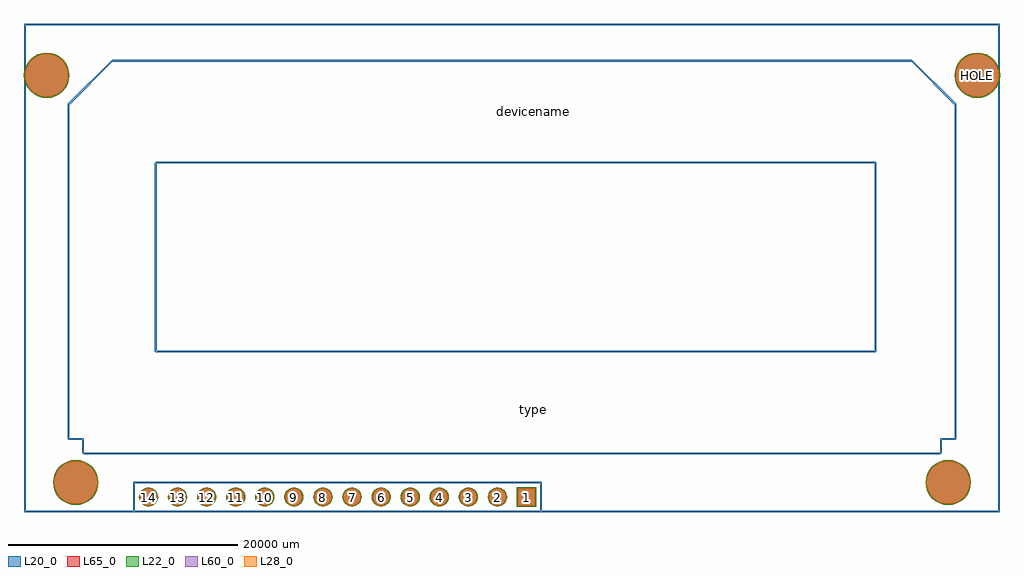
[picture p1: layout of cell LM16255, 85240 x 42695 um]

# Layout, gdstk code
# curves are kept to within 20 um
import gdstk
lib = gdstk.Library(unit=1e-6, precision=1e-09)
def R(c, l, rs):  # rectangles x0, y0, x1, y1
    for r in rs: c.add(gdstk.rectangle(r[:2], r[2:], *l))
def P(c, l, *ps):  # polygons
    for p in ps: c.add(gdstk.Polygon(p, *l))
L20_0 = (20, 0)
L22_0 = (22, 0)
L28_0 = (28, 0)
L60_0 = (60, 0)
L65_0 = (65, 0)

lm16255 = lib.new_cell('LM16255')
R(lm16255, L22_0, [(15673,-837,17347,837)])
P(lm16255, L22_0, [(-15673,0),(-15736.713,320.306),(-15918.152,591.848),(-16189.694,773.287),(-16510,837),(-16830.306,773.287),(-17101.848,591.848),(-17283.287,320.306),(-17347,0),(-17283.287,-320.306),(-17101.848,-591.848),(-16830.306,-773.287),(-16510,-837),(-16189.694,-773.287),(-15918.152,-591.848),(-15736.713,-320.306)],
  [(-13133,0),(-13196.713,320.306),(-13378.152,591.848),(-13649.694,773.287),(-13970,837),(-14290.306,773.287),(-14561.848,591.848),(-14743.287,320.306),(-14807,0),(-14743.287,-320.306),(-14561.848,-591.848),(-14290.306,-773.287),(-13970,-837),(-13649.694,-773.287),(-13378.152,-591.848),(-13196.713,-320.306)],
  [(-10593,0),(-10656.713,320.306),(-10838.152,591.848),(-11109.694,773.287),(-11430,837),(-11750.306,773.287),(-12021.848,591.848),(-12203.287,320.306),(-12267,0),(-12203.287,-320.306),(-12021.848,-591.848),(-11750.306,-773.287),(-11430,-837),(-11109.694,-773.287),(-10838.152,-591.848),(-10656.713,-320.306)],
  [(-8053,0),(-8116.713,320.306),(-8298.152,591.848),(-8569.694,773.287),(-8890,837),(-9210.306,773.287),(-9481.848,591.848),(-9663.287,320.306),(-9727,0),(-9663.287,-320.306),(-9481.848,-591.848),(-9210.306,-773.287),(-8890,-837),(-8569.694,-773.287),(-8298.152,-591.848),(-8116.713,-320.306)],
  [(-5513,0),(-5576.713,320.306),(-5758.152,591.848),(-6029.694,773.287),(-6350,837),(-6670.306,773.287),(-6941.848,591.848),(-7123.287,320.306),(-7187,0),(-7123.287,-320.306),(-6941.848,-591.848),(-6670.306,-773.287),(-6350,-837),(-6029.694,-773.287),(-5758.152,-591.848),(-5576.713,-320.306)],
  [(-2973,0),(-3036.713,320.306),(-3218.152,591.848),(-3489.694,773.287),(-3810,837),(-4130.306,773.287),(-4401.848,591.848),(-4583.287,320.306),(-4647,0),(-4583.287,-320.306),(-4401.848,-591.848),(-4130.306,-773.287),(-3810,-837),(-3489.694,-773.287),(-3218.152,-591.848),(-3036.713,-320.306)],
  [(-433,0),(-496.713,320.306),(-678.152,591.848),(-949.694,773.287),(-1270,837),(-1590.306,773.287),(-1861.848,591.848),(-2043.287,320.306),(-2107,0),(-2043.287,-320.306),(-1861.848,-591.848),(-1590.306,-773.287),(-1270,-837),(-949.694,-773.287),(-678.152,-591.848),(-496.713,-320.306)],
  [(2107,0),(2043.287,320.306),(1861.848,591.848),(1590.306,773.287),(1270,837),(949.694,773.287),(678.152,591.848),(496.713,320.306),(433,0),(496.713,-320.306),(678.152,-591.848),(949.694,-773.287),(1270,-837),(1590.306,-773.287),(1861.848,-591.848),(2043.287,-320.306)],
  [(4647,0),(4583.287,320.306),(4401.848,591.848),(4130.306,773.287),(3810,837),(3489.694,773.287),(3218.152,591.848),(3036.713,320.306),(2973,0),(3036.713,-320.306),(3218.152,-591.848),(3489.694,-773.287),(3810,-837),(4130.306,-773.287),(4401.848,-591.848),(4583.287,-320.306)],
  [(7187,0),(7123.287,320.306),(6941.848,591.848),(6670.306,773.287),(6350,837),(6029.694,773.287),(5758.152,591.848),(5576.713,320.306),(5513,0),(5576.713,-320.306),(5758.152,-591.848),(6029.694,-773.287),(6350,-837),(6670.306,-773.287),(6941.848,-591.848),(7123.287,-320.306)],
  [(9727,0),(9663.287,320.306),(9481.848,591.848),(9210.306,773.287),(8890,837),(8569.694,773.287),(8298.152,591.848),(8116.713,320.306),(8053,0),(8116.713,-320.306),(8298.152,-591.848),(8569.694,-773.287),(8890,-837),(9210.306,-773.287),(9481.848,-591.848),(9663.287,-320.306)],
  [(12267,0),(12203.287,320.306),(12021.848,591.848),(11750.306,773.287),(11430,837),(11109.694,773.287),(10838.152,591.848),(10656.713,320.306),(10593,0),(10656.713,-320.306),(10838.152,-591.848),(11109.694,-773.287),(11430,-837),(11750.306,-773.287),(12021.848,-591.848),(12203.287,-320.306)],
  [(14807,0),(14743.287,320.306),(14561.848,591.848),(14290.306,773.287),(13970,837),(13649.694,773.287),(13378.152,591.848),(13196.713,320.306),(13133,0),(13196.713,-320.306),(13378.152,-591.848),(13649.694,-773.287),(13970,-837),(14290.306,-773.287),(14561.848,-591.848),(14743.287,-320.306)],
  [(-20880,1270),(-20918.045,1656.279),(-21030.719,2027.713),(-21213.69,2370.029),(-21459.929,2670.071),(-21759.971,2916.31),(-22102.287,3099.281),(-22473.721,3211.955),(-22860,3250),(-23246.279,3211.955),(-23617.713,3099.281),(-23960.029,2916.31),(-24260.071,2670.071),(-24506.31,2370.029),(-24689.281,2027.713),(-24801.955,1656.279),(-24840,1270),(-24801.955,883.721),(-24689.281,512.287),(-24506.31,169.971),(-24260.071,-130.071),(-23960.029,-376.31),(-23617.713,-559.281),(-23246.279,-671.955),(-22860,-710),(-22473.721,-671.955),(-22102.287,-559.281),(-21759.971,-376.31),(-21459.929,-130.071),(-21213.69,169.971),(-21030.719,512.287),(-20918.045,883.721)],
  [(-23420,36830),(-23458.045,37216.279),(-23570.719,37587.713),(-23753.69,37930.029),(-23999.929,38230.071),(-24299.971,38476.31),(-24642.287,38659.281),(-25013.721,38771.955),(-25400,38810),(-25786.279,38771.955),(-26157.713,38659.281),(-26500.029,38476.31),(-26800.071,38230.071),(-27046.31,37930.029),(-27229.281,37587.713),(-27341.955,37216.279),(-27380,36830),(-27341.955,36443.721),(-27229.281,36072.287),(-27046.31,35729.971),(-26800.071,35429.929),(-26500.029,35183.69),(-26157.713,35000.719),(-25786.279,34888.045),(-25400,34850),(-25013.721,34888.045),(-24642.287,35000.719),(-24299.971,35183.69),(-23999.929,35429.929),(-23753.69,35729.971),(-23570.719,36072.287),(-23458.045,36443.721)],
  [(55320,1270),(55281.955,1656.279),(55169.281,2027.713),(54986.31,2370.029),(54740.071,2670.071),(54440.029,2916.31),(54097.713,3099.281),(53726.279,3211.955),(53340,3250),(52953.721,3211.955),(52582.287,3099.281),(52239.971,2916.31),(51939.929,2670.071),(51693.69,2370.029),(51510.719,2027.713),(51398.045,1656.279),(51360,1270),(51398.045,883.721),(51510.719,512.287),(51693.69,169.971),(51939.929,-130.071),(52239.971,-376.31),(52582.287,-559.281),(52953.721,-671.955),(53340,-710),(53726.279,-671.955),(54097.713,-559.281),(54440.029,-376.31),(54740.071,-130.071),(54986.31,169.971),(55169.281,512.287),(55281.955,883.721)],
  [(57860,36830),(57821.955,37216.279),(57709.281,37587.713),(57526.31,37930.029),(57280.071,38230.071),(56980.029,38476.31),(56637.713,38659.281),(56266.279,38771.955),(55880,38810),(55493.721,38771.955),(55122.287,38659.281),(54779.971,38476.31),(54479.929,38230.071),(54233.69,37930.029),(54050.719,37587.713),(53938.045,37216.279),(53900,36830),(53938.045,36443.721),(54050.719,36072.287),(54233.69,35729.971),(54479.929,35429.929),(54779.971,35183.69),(55122.287,35000.719),(55493.721,34888.045),(55880,34850),(56266.279,34888.045),(56637.713,35000.719),(56980.029,35183.69),(57280.071,35429.929),(57526.31,35729.971),(57709.281,36072.287),(57821.955,36443.721)])
R(lm16255, L28_0, [(15748,-762,17272,762)])
P(lm16255, L28_0, [(-15748,0),(-15806.004,291.605),(-15971.185,538.815),(-16218.395,703.996),(-16510,762),(-16801.605,703.996),(-17048.815,538.815),(-17213.996,291.605),(-17272,0),(-17213.996,-291.605),(-17048.815,-538.815),(-16801.605,-703.996),(-16510,-762),(-16218.395,-703.996),(-15971.185,-538.815),(-15806.004,-291.605)],
  [(-13208,0),(-13266.004,291.605),(-13431.185,538.815),(-13678.395,703.996),(-13970,762),(-14261.605,703.996),(-14508.815,538.815),(-14673.996,291.605),(-14732,0),(-14673.996,-291.605),(-14508.815,-538.815),(-14261.605,-703.996),(-13970,-762),(-13678.395,-703.996),(-13431.185,-538.815),(-13266.004,-291.605)],
  [(-10668,0),(-10726.004,291.605),(-10891.185,538.815),(-11138.395,703.996),(-11430,762),(-11721.605,703.996),(-11968.815,538.815),(-12133.996,291.605),(-12192,0),(-12133.996,-291.605),(-11968.815,-538.815),(-11721.605,-703.996),(-11430,-762),(-11138.395,-703.996),(-10891.185,-538.815),(-10726.004,-291.605)],
  [(-8128,0),(-8186.004,291.605),(-8351.185,538.815),(-8598.395,703.996),(-8890,762),(-9181.605,703.996),(-9428.815,538.815),(-9593.996,291.605),(-9652,0),(-9593.996,-291.605),(-9428.815,-538.815),(-9181.605,-703.996),(-8890,-762),(-8598.395,-703.996),(-8351.185,-538.815),(-8186.004,-291.605)],
  [(-5588,0),(-5646.004,291.605),(-5811.185,538.815),(-6058.395,703.996),(-6350,762),(-6641.605,703.996),(-6888.815,538.815),(-7053.996,291.605),(-7112,0),(-7053.996,-291.605),(-6888.815,-538.815),(-6641.605,-703.996),(-6350,-762),(-6058.395,-703.996),(-5811.185,-538.815),(-5646.004,-291.605)],
  [(-3048,0),(-3106.004,291.605),(-3271.185,538.815),(-3518.395,703.996),(-3810,762),(-4101.605,703.996),(-4348.815,538.815),(-4513.996,291.605),(-4572,0),(-4513.996,-291.605),(-4348.815,-538.815),(-4101.605,-703.996),(-3810,-762),(-3518.395,-703.996),(-3271.185,-538.815),(-3106.004,-291.605)],
  [(-508,0),(-566.004,291.605),(-731.185,538.815),(-978.395,703.996),(-1270,762),(-1561.605,703.996),(-1808.815,538.815),(-1973.996,291.605),(-2032,0),(-1973.996,-291.605),(-1808.815,-538.815),(-1561.605,-703.996),(-1270,-762),(-978.395,-703.996),(-731.185,-538.815),(-566.004,-291.605)],
  [(2032,0),(1973.996,291.605),(1808.815,538.815),(1561.605,703.996),(1270,762),(978.395,703.996),(731.185,538.815),(566.004,291.605),(508,0),(566.004,-291.605),(731.185,-538.815),(978.395,-703.996),(1270,-762),(1561.605,-703.996),(1808.815,-538.815),(1973.996,-291.605)],
  [(4572,0),(4513.996,291.605),(4348.815,538.815),(4101.605,703.996),(3810,762),(3518.395,703.996),(3271.185,538.815),(3106.004,291.605),(3048,0),(3106.004,-291.605),(3271.185,-538.815),(3518.395,-703.996),(3810,-762),(4101.605,-703.996),(4348.815,-538.815),(4513.996,-291.605)],
  [(7112,0),(7053.996,291.605),(6888.815,538.815),(6641.605,703.996),(6350,762),(6058.395,703.996),(5811.185,538.815),(5646.004,291.605),(5588,0),(5646.004,-291.605),(5811.185,-538.815),(6058.395,-703.996),(6350,-762),(6641.605,-703.996),(6888.815,-538.815),(7053.996,-291.605)],
  [(9652,0),(9593.996,291.605),(9428.815,538.815),(9181.605,703.996),(8890,762),(8598.395,703.996),(8351.185,538.815),(8186.004,291.605),(8128,0),(8186.004,-291.605),(8351.185,-538.815),(8598.395,-703.996),(8890,-762),(9181.605,-703.996),(9428.815,-538.815),(9593.996,-291.605)],
  [(12192,0),(12133.996,291.605),(11968.815,538.815),(11721.605,703.996),(11430,762),(11138.395,703.996),(10891.185,538.815),(10726.004,291.605),(10668,0),(10726.004,-291.605),(10891.185,-538.815),(11138.395,-703.996),(11430,-762),(11721.605,-703.996),(11968.815,-538.815),(12133.996,-291.605)],
  [(14732,0),(14673.996,291.605),(14508.815,538.815),(14261.605,703.996),(13970,762),(13678.395,703.996),(13431.185,538.815),(13266.004,291.605),(13208,0),(13266.004,-291.605),(13431.185,-538.815),(13678.395,-703.996),(13970,-762),(14261.605,-703.996),(14508.815,-538.815),(14673.996,-291.605)],
  [(-20955,1270),(-20991.604,1641.647),(-21100.009,1999.012),(-21276.05,2328.361),(-21512.962,2617.038),(-21801.639,2853.95),(-22130.988,3029.991),(-22488.353,3138.396),(-22860,3175),(-23231.647,3138.396),(-23589.012,3029.991),(-23918.361,2853.95),(-24207.038,2617.038),(-24443.95,2328.361),(-24619.991,1999.012),(-24728.396,1641.647),(-24765,1270),(-24728.396,898.353),(-24619.991,540.988),(-24443.95,211.639),(-24207.038,-77.038),(-23918.361,-313.95),(-23589.012,-489.991),(-23231.647,-598.396),(-22860,-635),(-22488.353,-598.396),(-22130.988,-489.991),(-21801.639,-313.95),(-21512.962,-77.038),(-21276.05,211.639),(-21100.009,540.988),(-20991.604,898.353)],
  [(-23495,36830),(-23531.604,37201.647),(-23640.009,37559.012),(-23816.05,37888.361),(-24052.962,38177.038),(-24341.639,38413.95),(-24670.988,38589.991),(-25028.353,38698.396),(-25400,38735),(-25771.647,38698.396),(-26129.012,38589.991),(-26458.361,38413.95),(-26747.038,38177.038),(-26983.95,37888.361),(-27159.991,37559.012),(-27268.396,37201.647),(-27305,36830),(-27268.396,36458.353),(-27159.991,36100.988),(-26983.95,35771.639),(-26747.038,35482.962),(-26458.361,35246.05),(-26129.012,35070.009),(-25771.647,34961.604),(-25400,34925),(-25028.353,34961.604),(-24670.988,35070.009),(-24341.639,35246.05),(-24052.962,35482.962),(-23816.05,35771.639),(-23640.009,36100.988),(-23531.604,36458.353)],
  [(55245,1270),(55208.396,1641.647),(55099.991,1999.012),(54923.95,2328.361),(54687.038,2617.038),(54398.361,2853.95),(54069.012,3029.991),(53711.647,3138.396),(53340,3175),(52968.353,3138.396),(52610.988,3029.991),(52281.639,2853.95),(51992.962,2617.038),(51756.05,2328.361),(51580.009,1999.012),(51471.604,1641.647),(51435,1270),(51471.604,898.353),(51580.009,540.988),(51756.05,211.639),(51992.962,-77.038),(52281.639,-313.95),(52610.988,-489.991),(52968.353,-598.396),(53340,-635),(53711.647,-598.396),(54069.012,-489.991),(54398.361,-313.95),(54687.038,-77.038),(54923.95,211.639),(55099.991,540.988),(55208.396,898.353)],
  [(57785,36830),(57748.396,37201.647),(57639.991,37559.012),(57463.95,37888.361),(57227.038,38177.038),(56938.361,38413.95),(56609.012,38589.991),(56251.647,38698.396),(55880,38735),(55508.353,38698.396),(55150.988,38589.991),(54821.639,38413.95),(54532.962,38177.038),(54296.05,37888.361),(54120.009,37559.012),(54011.604,37201.647),(53975,36830),(54011.604,36458.353),(54120.009,36100.988),(54296.05,35771.639),(54532.962,35482.962),(54821.639,35246.05),(55150.988,35070.009),(55508.353,34961.604),(55880,34925),(56251.647,34961.604),(56609.012,35070.009),(56938.361,35246.05),(57227.038,35482.962),(57463.95,35771.639),(57639.991,36100.988),(57748.396,36458.353)])
R(lm16255, L60_0, [(15748,-762,17272,762)])
P(lm16255, L60_0, [(-15748,0),(-15806.004,291.605),(-15971.185,538.815),(-16218.395,703.996),(-16510,762),(-16801.605,703.996),(-17048.815,538.815),(-17213.996,291.605),(-17272,0),(-17213.996,-291.605),(-17048.815,-538.815),(-16801.605,-703.996),(-16510,-762),(-16218.395,-703.996),(-15971.185,-538.815),(-15806.004,-291.605)],
  [(-13208,0),(-13266.004,291.605),(-13431.185,538.815),(-13678.395,703.996),(-13970,762),(-14261.605,703.996),(-14508.815,538.815),(-14673.996,291.605),(-14732,0),(-14673.996,-291.605),(-14508.815,-538.815),(-14261.605,-703.996),(-13970,-762),(-13678.395,-703.996),(-13431.185,-538.815),(-13266.004,-291.605)],
  [(-10668,0),(-10726.004,291.605),(-10891.185,538.815),(-11138.395,703.996),(-11430,762),(-11721.605,703.996),(-11968.815,538.815),(-12133.996,291.605),(-12192,0),(-12133.996,-291.605),(-11968.815,-538.815),(-11721.605,-703.996),(-11430,-762),(-11138.395,-703.996),(-10891.185,-538.815),(-10726.004,-291.605)],
  [(-8128,0),(-8186.004,291.605),(-8351.185,538.815),(-8598.395,703.996),(-8890,762),(-9181.605,703.996),(-9428.815,538.815),(-9593.996,291.605),(-9652,0),(-9593.996,-291.605),(-9428.815,-538.815),(-9181.605,-703.996),(-8890,-762),(-8598.395,-703.996),(-8351.185,-538.815),(-8186.004,-291.605)],
  [(-5588,0),(-5646.004,291.605),(-5811.185,538.815),(-6058.395,703.996),(-6350,762),(-6641.605,703.996),(-6888.815,538.815),(-7053.996,291.605),(-7112,0),(-7053.996,-291.605),(-6888.815,-538.815),(-6641.605,-703.996),(-6350,-762),(-6058.395,-703.996),(-5811.185,-538.815),(-5646.004,-291.605)],
  [(-3048,0),(-3106.004,291.605),(-3271.185,538.815),(-3518.395,703.996),(-3810,762),(-4101.605,703.996),(-4348.815,538.815),(-4513.996,291.605),(-4572,0),(-4513.996,-291.605),(-4348.815,-538.815),(-4101.605,-703.996),(-3810,-762),(-3518.395,-703.996),(-3271.185,-538.815),(-3106.004,-291.605)],
  [(-508,0),(-566.004,291.605),(-731.185,538.815),(-978.395,703.996),(-1270,762),(-1561.605,703.996),(-1808.815,538.815),(-1973.996,291.605),(-2032,0),(-1973.996,-291.605),(-1808.815,-538.815),(-1561.605,-703.996),(-1270,-762),(-978.395,-703.996),(-731.185,-538.815),(-566.004,-291.605)],
  [(2032,0),(1973.996,291.605),(1808.815,538.815),(1561.605,703.996),(1270,762),(978.395,703.996),(731.185,538.815),(566.004,291.605),(508,0),(566.004,-291.605),(731.185,-538.815),(978.395,-703.996),(1270,-762),(1561.605,-703.996),(1808.815,-538.815),(1973.996,-291.605)],
  [(4572,0),(4513.996,291.605),(4348.815,538.815),(4101.605,703.996),(3810,762),(3518.395,703.996),(3271.185,538.815),(3106.004,291.605),(3048,0),(3106.004,-291.605),(3271.185,-538.815),(3518.395,-703.996),(3810,-762),(4101.605,-703.996),(4348.815,-538.815),(4513.996,-291.605)],
  [(7112,0),(7053.996,291.605),(6888.815,538.815),(6641.605,703.996),(6350,762),(6058.395,703.996),(5811.185,538.815),(5646.004,291.605),(5588,0),(5646.004,-291.605),(5811.185,-538.815),(6058.395,-703.996),(6350,-762),(6641.605,-703.996),(6888.815,-538.815),(7053.996,-291.605)],
  [(9652,0),(9593.996,291.605),(9428.815,538.815),(9181.605,703.996),(8890,762),(8598.395,703.996),(8351.185,538.815),(8186.004,291.605),(8128,0),(8186.004,-291.605),(8351.185,-538.815),(8598.395,-703.996),(8890,-762),(9181.605,-703.996),(9428.815,-538.815),(9593.996,-291.605)],
  [(12192,0),(12133.996,291.605),(11968.815,538.815),(11721.605,703.996),(11430,762),(11138.395,703.996),(10891.185,538.815),(10726.004,291.605),(10668,0),(10726.004,-291.605),(10891.185,-538.815),(11138.395,-703.996),(11430,-762),(11721.605,-703.996),(11968.815,-538.815),(12133.996,-291.605)],
  [(14732,0),(14673.996,291.605),(14508.815,538.815),(14261.605,703.996),(13970,762),(13678.395,703.996),(13431.185,538.815),(13266.004,291.605),(13208,0),(13266.004,-291.605),(13431.185,-538.815),(13678.395,-703.996),(13970,-762),(14261.605,-703.996),(14508.815,-538.815),(14673.996,-291.605)],
  [(-20955,1270),(-20991.604,1641.647),(-21100.009,1999.012),(-21276.05,2328.361),(-21512.962,2617.038),(-21801.639,2853.95),(-22130.988,3029.991),(-22488.353,3138.396),(-22860,3175),(-23231.647,3138.396),(-23589.012,3029.991),(-23918.361,2853.95),(-24207.038,2617.038),(-24443.95,2328.361),(-24619.991,1999.012),(-24728.396,1641.647),(-24765,1270),(-24728.396,898.353),(-24619.991,540.988),(-24443.95,211.639),(-24207.038,-77.038),(-23918.361,-313.95),(-23589.012,-489.991),(-23231.647,-598.396),(-22860,-635),(-22488.353,-598.396),(-22130.988,-489.991),(-21801.639,-313.95),(-21512.962,-77.038),(-21276.05,211.639),(-21100.009,540.988),(-20991.604,898.353)],
  [(-23495,36830),(-23531.604,37201.647),(-23640.009,37559.012),(-23816.05,37888.361),(-24052.962,38177.038),(-24341.639,38413.95),(-24670.988,38589.991),(-25028.353,38698.396),(-25400,38735),(-25771.647,38698.396),(-26129.012,38589.991),(-26458.361,38413.95),(-26747.038,38177.038),(-26983.95,37888.361),(-27159.991,37559.012),(-27268.396,37201.647),(-27305,36830),(-27268.396,36458.353),(-27159.991,36100.988),(-26983.95,35771.639),(-26747.038,35482.962),(-26458.361,35246.05),(-26129.012,35070.009),(-25771.647,34961.604),(-25400,34925),(-25028.353,34961.604),(-24670.988,35070.009),(-24341.639,35246.05),(-24052.962,35482.962),(-23816.05,35771.639),(-23640.009,36100.988),(-23531.604,36458.353)],
  [(55245,1270),(55208.396,1641.647),(55099.991,1999.012),(54923.95,2328.361),(54687.038,2617.038),(54398.361,2853.95),(54069.012,3029.991),(53711.647,3138.396),(53340,3175),(52968.353,3138.396),(52610.988,3029.991),(52281.639,2853.95),(51992.962,2617.038),(51756.05,2328.361),(51580.009,1999.012),(51471.604,1641.647),(51435,1270),(51471.604,898.353),(51580.009,540.988),(51756.05,211.639),(51992.962,-77.038),(52281.639,-313.95),(52610.988,-489.991),(52968.353,-598.396),(53340,-635),(53711.647,-598.396),(54069.012,-489.991),(54398.361,-313.95),(54687.038,-77.038),(54923.95,211.639),(55099.991,540.988),(55208.396,898.353)],
  [(57785,36830),(57748.396,37201.647),(57639.991,37559.012),(57463.95,37888.361),(57227.038,38177.038),(56938.361,38413.95),(56609.012,38589.991),(56251.647,38698.396),(55880,38735),(55508.353,38698.396),(55150.988,38589.991),(54821.639,38413.95),(54532.962,38177.038),(54296.05,37888.361),(54120.009,37559.012),(54011.604,37201.647),(53975,36830),(54011.604,36458.353),(54120.009,36100.988),(54296.05,35771.639),(54532.962,35482.962),(54821.639,35246.05),(55150.988,35070.009),(55508.353,34961.604),(55880,34925),(56251.647,34961.604),(56609.012,35070.009),(56938.361,35246.05),(57227.038,35482.962),(57463.95,35771.639),(57639.991,36100.988),(57748.396,36458.353)])
R(lm16255, L65_0, [(15673,-837,17347,837)])
P(lm16255, L65_0, [(-15673,0),(-15736.713,320.306),(-15918.152,591.848),(-16189.694,773.287),(-16510,837),(-16830.306,773.287),(-17101.848,591.848),(-17283.287,320.306),(-17347,0),(-17283.287,-320.306),(-17101.848,-591.848),(-16830.306,-773.287),(-16510,-837),(-16189.694,-773.287),(-15918.152,-591.848),(-15736.713,-320.306)],
  [(-13133,0),(-13196.713,320.306),(-13378.152,591.848),(-13649.694,773.287),(-13970,837),(-14290.306,773.287),(-14561.848,591.848),(-14743.287,320.306),(-14807,0),(-14743.287,-320.306),(-14561.848,-591.848),(-14290.306,-773.287),(-13970,-837),(-13649.694,-773.287),(-13378.152,-591.848),(-13196.713,-320.306)],
  [(-10593,0),(-10656.713,320.306),(-10838.152,591.848),(-11109.694,773.287),(-11430,837),(-11750.306,773.287),(-12021.848,591.848),(-12203.287,320.306),(-12267,0),(-12203.287,-320.306),(-12021.848,-591.848),(-11750.306,-773.287),(-11430,-837),(-11109.694,-773.287),(-10838.152,-591.848),(-10656.713,-320.306)],
  [(-8053,0),(-8116.713,320.306),(-8298.152,591.848),(-8569.694,773.287),(-8890,837),(-9210.306,773.287),(-9481.848,591.848),(-9663.287,320.306),(-9727,0),(-9663.287,-320.306),(-9481.848,-591.848),(-9210.306,-773.287),(-8890,-837),(-8569.694,-773.287),(-8298.152,-591.848),(-8116.713,-320.306)],
  [(-5513,0),(-5576.713,320.306),(-5758.152,591.848),(-6029.694,773.287),(-6350,837),(-6670.306,773.287),(-6941.848,591.848),(-7123.287,320.306),(-7187,0),(-7123.287,-320.306),(-6941.848,-591.848),(-6670.306,-773.287),(-6350,-837),(-6029.694,-773.287),(-5758.152,-591.848),(-5576.713,-320.306)],
  [(-2973,0),(-3036.713,320.306),(-3218.152,591.848),(-3489.694,773.287),(-3810,837),(-4130.306,773.287),(-4401.848,591.848),(-4583.287,320.306),(-4647,0),(-4583.287,-320.306),(-4401.848,-591.848),(-4130.306,-773.287),(-3810,-837),(-3489.694,-773.287),(-3218.152,-591.848),(-3036.713,-320.306)],
  [(-433,0),(-496.713,320.306),(-678.152,591.848),(-949.694,773.287),(-1270,837),(-1590.306,773.287),(-1861.848,591.848),(-2043.287,320.306),(-2107,0),(-2043.287,-320.306),(-1861.848,-591.848),(-1590.306,-773.287),(-1270,-837),(-949.694,-773.287),(-678.152,-591.848),(-496.713,-320.306)],
  [(2107,0),(2043.287,320.306),(1861.848,591.848),(1590.306,773.287),(1270,837),(949.694,773.287),(678.152,591.848),(496.713,320.306),(433,0),(496.713,-320.306),(678.152,-591.848),(949.694,-773.287),(1270,-837),(1590.306,-773.287),(1861.848,-591.848),(2043.287,-320.306)],
  [(4647,0),(4583.287,320.306),(4401.848,591.848),(4130.306,773.287),(3810,837),(3489.694,773.287),(3218.152,591.848),(3036.713,320.306),(2973,0),(3036.713,-320.306),(3218.152,-591.848),(3489.694,-773.287),(3810,-837),(4130.306,-773.287),(4401.848,-591.848),(4583.287,-320.306)],
  [(7187,0),(7123.287,320.306),(6941.848,591.848),(6670.306,773.287),(6350,837),(6029.694,773.287),(5758.152,591.848),(5576.713,320.306),(5513,0),(5576.713,-320.306),(5758.152,-591.848),(6029.694,-773.287),(6350,-837),(6670.306,-773.287),(6941.848,-591.848),(7123.287,-320.306)],
  [(9727,0),(9663.287,320.306),(9481.848,591.848),(9210.306,773.287),(8890,837),(8569.694,773.287),(8298.152,591.848),(8116.713,320.306),(8053,0),(8116.713,-320.306),(8298.152,-591.848),(8569.694,-773.287),(8890,-837),(9210.306,-773.287),(9481.848,-591.848),(9663.287,-320.306)],
  [(12267,0),(12203.287,320.306),(12021.848,591.848),(11750.306,773.287),(11430,837),(11109.694,773.287),(10838.152,591.848),(10656.713,320.306),(10593,0),(10656.713,-320.306),(10838.152,-591.848),(11109.694,-773.287),(11430,-837),(11750.306,-773.287),(12021.848,-591.848),(12203.287,-320.306)],
  [(14807,0),(14743.287,320.306),(14561.848,591.848),(14290.306,773.287),(13970,837),(13649.694,773.287),(13378.152,591.848),(13196.713,320.306),(13133,0),(13196.713,-320.306),(13378.152,-591.848),(13649.694,-773.287),(13970,-837),(14290.306,-773.287),(14561.848,-591.848),(14743.287,-320.306)],
  [(-20880,1270),(-20918.045,1656.279),(-21030.719,2027.713),(-21213.69,2370.029),(-21459.929,2670.071),(-21759.971,2916.31),(-22102.287,3099.281),(-22473.721,3211.955),(-22860,3250),(-23246.279,3211.955),(-23617.713,3099.281),(-23960.029,2916.31),(-24260.071,2670.071),(-24506.31,2370.029),(-24689.281,2027.713),(-24801.955,1656.279),(-24840,1270),(-24801.955,883.721),(-24689.281,512.287),(-24506.31,169.971),(-24260.071,-130.071),(-23960.029,-376.31),(-23617.713,-559.281),(-23246.279,-671.955),(-22860,-710),(-22473.721,-671.955),(-22102.287,-559.281),(-21759.971,-376.31),(-21459.929,-130.071),(-21213.69,169.971),(-21030.719,512.287),(-20918.045,883.721)],
  [(-23420,36830),(-23458.045,37216.279),(-23570.719,37587.713),(-23753.69,37930.029),(-23999.929,38230.071),(-24299.971,38476.31),(-24642.287,38659.281),(-25013.721,38771.955),(-25400,38810),(-25786.279,38771.955),(-26157.713,38659.281),(-26500.029,38476.31),(-26800.071,38230.071),(-27046.31,37930.029),(-27229.281,37587.713),(-27341.955,37216.279),(-27380,36830),(-27341.955,36443.721),(-27229.281,36072.287),(-27046.31,35729.971),(-26800.071,35429.929),(-26500.029,35183.69),(-26157.713,35000.719),(-25786.279,34888.045),(-25400,34850),(-25013.721,34888.045),(-24642.287,35000.719),(-24299.971,35183.69),(-23999.929,35429.929),(-23753.69,35729.971),(-23570.719,36072.287),(-23458.045,36443.721)],
  [(55320,1270),(55281.955,1656.279),(55169.281,2027.713),(54986.31,2370.029),(54740.071,2670.071),(54440.029,2916.31),(54097.713,3099.281),(53726.279,3211.955),(53340,3250),(52953.721,3211.955),(52582.287,3099.281),(52239.971,2916.31),(51939.929,2670.071),(51693.69,2370.029),(51510.719,2027.713),(51398.045,1656.279),(51360,1270),(51398.045,883.721),(51510.719,512.287),(51693.69,169.971),(51939.929,-130.071),(52239.971,-376.31),(52582.287,-559.281),(52953.721,-671.955),(53340,-710),(53726.279,-671.955),(54097.713,-559.281),(54440.029,-376.31),(54740.071,-130.071),(54986.31,169.971),(55169.281,512.287),(55281.955,883.721)],
  [(57860,36830),(57821.955,37216.279),(57709.281,37587.713),(57526.31,37930.029),(57280.071,38230.071),(56980.029,38476.31),(56637.713,38659.281),(56266.279,38771.955),(55880,38810),(55493.721,38771.955),(55122.287,38659.281),(54779.971,38476.31),(54479.929,38230.071),(54233.69,37930.029),(54050.719,37587.713),(53938.045,37216.279),(53900,36830),(53938.045,36443.721),(54050.719,36072.287),(54233.69,35729.971),(54479.929,35429.929),(54779.971,35183.69),(55122.287,35000.719),(55493.721,34888.045),(55880,34850),(56266.279,34888.045),(56637.713,35000.719),(56980.029,35183.69),(57280.071,35429.929),(57526.31,35729.971),(57709.281,36072.287),(57821.955,36443.721)])
lm16255.add(gdstk.FlexPath([(-15875,12700),(-15875,29210)], 149.998, ends="flush", simple_path=True, layer=20, datatype=0))  # L20_0
lm16255.add(gdstk.FlexPath([(46990,12700),(-15875,12700)], 149.998, ends="flush", simple_path=True, layer=20, datatype=0))  # L20_0
lm16255.add(gdstk.FlexPath([(46990,29210),(46990,12700)], 149.998, ends="flush", simple_path=True, layer=20, datatype=0))  # L20_0
lm16255.add(gdstk.FlexPath([(-15875,29210),(46990,29210)], 149.998, ends="flush", simple_path=True, layer=20, datatype=0))  # L20_0
lm16255.add(gdstk.FlexPath([(-23495,5080),(-23495,34290)], 149.998, ends="flush", simple_path=True, layer=20, datatype=0))  # L20_0
lm16255.add(gdstk.FlexPath([(-22225,5080),(-23495,5080)], 149.998, ends="flush", simple_path=True, layer=20, datatype=0))  # L20_0
lm16255.add(gdstk.FlexPath([(-22225,3810),(-22225,5080)], 149.998, ends="flush", simple_path=True, layer=20, datatype=0))  # L20_0
lm16255.add(gdstk.FlexPath([(52705,3810),(-22225,3810)], 149.998, ends="flush", simple_path=True, layer=20, datatype=0))  # L20_0
lm16255.add(gdstk.FlexPath([(52705,5080),(52705,3810)], 149.998, ends="flush", simple_path=True, layer=20, datatype=0))  # L20_0
lm16255.add(gdstk.FlexPath([(53975,5080),(52705,5080)], 149.998, ends="flush", simple_path=True, layer=20, datatype=0))  # L20_0
lm16255.add(gdstk.FlexPath([(53975,34290),(53975,5080)], 149.998, ends="flush", simple_path=True, layer=20, datatype=0))  # L20_0
lm16255.add(gdstk.FlexPath([(50165,38100),(53975,34290)], 149.998, ends="flush", simple_path=True, layer=20, datatype=0))  # L20_0
lm16255.add(gdstk.FlexPath([(-19685,38100),(50165,38100)], 149.998, ends="flush", simple_path=True, layer=20, datatype=0))  # L20_0
lm16255.add(gdstk.FlexPath([(-23495,34290),(-19685,38100)], 149.998, ends="flush", simple_path=True, layer=20, datatype=0))  # L20_0
lm16255.add(gdstk.FlexPath([(57785,-1270),(-27305,-1270)], 149.998, ends="flush", simple_path=True, layer=20, datatype=0))  # L20_0
lm16255.add(gdstk.FlexPath([(57785,41275),(57785,-1270)], 149.998, ends="flush", simple_path=True, layer=20, datatype=0))  # L20_0
lm16255.add(gdstk.FlexPath([(-27305,41275),(57785,41275)], 149.998, ends="flush", simple_path=True, layer=20, datatype=0))  # L20_0
lm16255.add(gdstk.FlexPath([(-27305,-1270),(-27305,41275)], 149.998, ends="flush", simple_path=True, layer=20, datatype=0))  # L20_0
lm16255.add(gdstk.FlexPath([(17780,1270),(17780,-1270)], 149.998, ends="flush", simple_path=True, layer=20, datatype=0))  # L20_0
lm16255.add(gdstk.FlexPath([(-17780,1270),(17780,1270)], 149.998, ends="flush", simple_path=True, layer=20, datatype=0))  # L20_0
lm16255.add(gdstk.FlexPath([(-17780,-1270),(-17780,1270)], 149.998, ends="flush", simple_path=True, layer=20, datatype=0))  # L20_0
lm16255.add(gdstk.Label('14', (-16510,0), layer=28, texttype=0))
lm16255.add(gdstk.Label('13', (-13970,0), layer=28, texttype=0))
lm16255.add(gdstk.Label('12', (-11430,0), layer=28, texttype=0))
lm16255.add(gdstk.Label('11', (-8890,0), layer=28, texttype=0))
lm16255.add(gdstk.Label('10', (-6350,0), layer=28, texttype=0))
lm16255.add(gdstk.Label('9', (-3810,0), layer=28, texttype=0))
lm16255.add(gdstk.Label('8', (-1270,0), layer=28, texttype=0))
lm16255.add(gdstk.Label('7', (1270,0), layer=28, texttype=0))
lm16255.add(gdstk.Label('6', (3810,0), layer=28, texttype=0))
lm16255.add(gdstk.Label('5', (6350,0), layer=28, texttype=0))
lm16255.add(gdstk.Label('4', (8890,0), layer=28, texttype=0))
lm16255.add(gdstk.Label('3', (11430,0), layer=28, texttype=0))
lm16255.add(gdstk.Label('2', (13970,0), layer=28, texttype=0))
lm16255.add(gdstk.Label('1', (16510,0), layer=28, texttype=0))
lm16255.add(gdstk.Label('HOLE', (55880,36830), layer=28, texttype=0))
lm16255.add(gdstk.Label('type', (17145,7620), layer=9, texttype=0))
lm16255.add(gdstk.Label('devicename', (17145,33655), layer=9, texttype=0))

lib.write_gds('LM16255.gds')
